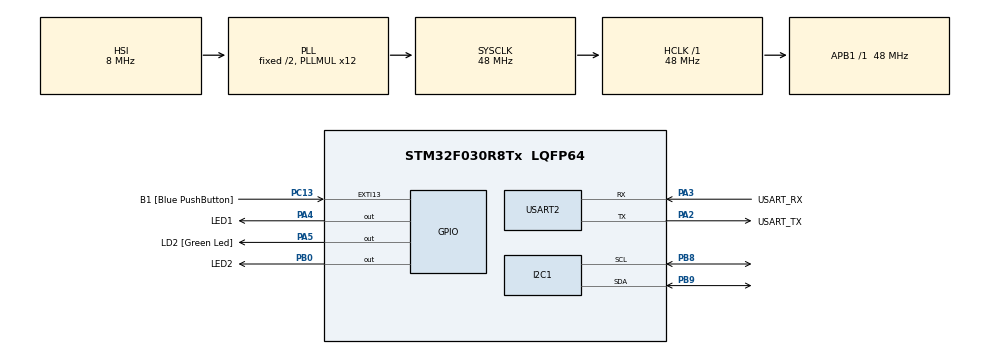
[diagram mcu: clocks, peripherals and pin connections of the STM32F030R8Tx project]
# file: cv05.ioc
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Dma.Request0=USART2_RX
Dma.USART2_RX.0.Direction=DMA_PERIPH_TO_MEMORY
Dma.USART2_RX.0.Instance=DMA1_Channel5
Dma.USART2_RX.0.MemDataAlignment=DMA_MDATAALIGN_BYTE
Dma.USART2_RX.0.MemInc=DMA_MINC_ENABLE
Dma.USART2_RX.0.Mode=DMA_CIRCULAR
Dma.USART2_RX.0.PeriphDataAlignment=DMA_PDATAALIGN_BYTE
Dma.USART2_RX.0.PeriphInc=DMA_PINC_DISABLE
Dma.USART2_RX.0.Priority=DMA_PRIORITY_LOW
Mcu.Family=STM32F0
Mcu.Name=STM32F030R8Tx
Mcu.Package=LQFP64
NVIC.DMA1_Channel4_5_IRQn=true\:0\:0\:false\:false\:true\:false\:true
PA13.GPIO_Label=TMS
PA13.Mode=Serial_Wire
PA13.Signal=SYS_SWDIO
PA14.GPIO_Label=TCK
PA14.Mode=Serial_Wire
PA14.Signal=SYS_SWCLK
PA2.GPIO_Label=USART_TX
PA2.GPIO_Mode=GPIO_MODE_AF_PP
PA2.GPIO_PuPd=GPIO_NOPULL
PA2.GPIO_Speed=GPIO_SPEED_FREQ_LOW
PA2.Mode=Asynchronous
PA2.Signal=USART2_TX
PA3.GPIO_Label=USART_RX
PA3.GPIO_Mode=GPIO_MODE_AF_PP
PA3.GPIO_PuPd=GPIO_NOPULL
PA3.GPIO_Speed=GPIO_SPEED_FREQ_LOW
PA3.Mode=Asynchronous
PA3.Signal=USART2_RX
PA4.GPIO_Label=LED1
PA4.Signal=GPIO_Output
PA5.GPIO_Label=LD2 [Green Led]
PA5.GPIO_Mode=GPIO_MODE_OUTPUT_PP
PA5.GPIO_PuPd=GPIO_NOPULL
PA5.GPIO_Speed=GPIO_SPEED_FREQ_LOW
PA5.Signal=GPIO_Output
PB0.GPIO_Label=LED2
PB0.Signal=GPIO_Output
PB8.Mode=I2C
PB8.Signal=I2C1_SCL
PB9.Mode=I2C
PB9.Signal=I2C1_SDA
PC13.GPIO_Label=B1 [Blue PushButton]
PC13.GPIO_ModeDefaultEXTI=GPIO_MODE_IT_FALLING
PC13.Signal=GPXTI13
PC14-OSC32_IN.Mode=LSE-External-Oscillator
PC14-OSC32_IN.Signal=RCC_OSC32_IN
PC15-OSC32_OUT.Mode=LSE-External-Oscillator
PC15-OSC32_OUT.Signal=RCC_OSC32_OUT
PF0-OSC_IN.Mode=HSE-External-Clock-Source
PF0-OSC_IN.Signal=RCC_OSC_IN
PF1-OSC_OUT.Signal=RCC_OSC_OUT
ProjectManager.HeapSize=0x200
ProjectManager.StackSize=0x400
ProjectManager.TargetToolchain=STM32CubeIDE
RCC.AHBFreq_Value=48000000
RCC.APB1Freq_Value=48000000
RCC.APB1TimFreq_Value=48000000
RCC.HCLKFreq_Value=48000000
RCC.PLLMUL=RCC_PLL_MUL12
RCC.SYSCLKFreq_VALUE=48000000
RCC.SYSCLKSource=RCC_SYSCLKSOURCE_PLLCLK
USART2.VirtualMode-Asynchronous=VM_ASYNC
board=NUCLEO-F030R8

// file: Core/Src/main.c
/* USER CODE BEGIN Header */
/**
 ******************************************************************************
 * @file           : main.c
 * @brief          : Main program body
 ******************************************************************************
 * @attention
 *
 * <h2><center>&copy; Copyright (c) 2020 STMicroelectronics.
 * All rights reserved.</center></h2>
 *
 * This software component is licensed by ST under BSD 3-Clause license,
 * the "License"; You may not use this file except in compliance with the
 * License. You may obtain a copy of the License at:
 *                        opensource.org/licenses/BSD-3-Clause
 *
 ******************************************************************************
 */
/* USER CODE END Header */

#include "main.h"

/* USER CODE BEGIN Includes */
#include  <stdio.h>
#include <string.h>
#include <stdlib.h>
/* USER CODE END Includes */

/* USER CODE BEGIN PD */
#define RX_BUFFER_LEN 64
#define EEPROM_ADDR 0xA0
#define CMD_BUFFER_LEN 256
static uint8_t uart_rx_buf[RX_BUFFER_LEN];
static volatile uint16_t uart_rx_read_ptr = 0;
#define uart_rx_write_ptr (RX_BUFFER_LEN - hdma_usart2_rx.Instance->CNDTR)
static uint16_t ls_char;
/* USER CODE END PD */

I2C_HandleTypeDef hi2c1;

UART_HandleTypeDef huart2;
DMA_HandleTypeDef hdma_usart2_rx;

void SystemClock_Config(void);
static void MX_GPIO_Init(void);
static void MX_DMA_Init(void);
static void MX_USART2_UART_Init(void);
static void MX_I2C1_Init(void);
/* USER CODE BEGIN PFP */
static void uart_byte_available(uint8_t c);
static void uart_process_command(char *data);
/* USER CODE END PFP */

/* USER CODE BEGIN 0 */
int _write(int file, char const *buf, int n)
{
	/* stdout redirection to UART2 */
	HAL_UART_Transmit(&huart2, (uint8_t*)(buf), n, HAL_MAX_DELAY);
	return n;
}

static void uart_byte_available(uint8_t c)
{
	static uint16_t cnt;
	static char data[CMD_BUFFER_LEN];
	if ((c>=32)&&(c<=126))
		if (cnt < CMD_BUFFER_LEN) data[cnt++] = c;
	if (c == '\n' || c == '\r') {

		data[cnt] = '\0';
		uart_process_command(data);
		cnt = 0;
		ls_char = HAL_GetTick();
	}

}

static void uart_process_command(char *data)
{
	char *token;
	token = strtok(data, " ");
	if (strcasecmp(token, "HELLO") == 0)
	{
		printf("Komunikace OK\n");
	}
	else if (strcasecmp(token, "LED1") == 0)
	{
		token = strtok(NULL, " ");
		if (strcasecmp(token, "ON") == 0)
		{
			HAL_GPIO_WritePin(LED1_GPIO_Port, LED1_Pin, 1);
			printf("LED1 je zapnuta\n");
		}
		else if (strcasecmp(token, "OFF") == 0)
		{
			HAL_GPIO_WritePin(LED1_GPIO_Port, LED1_Pin, 0);
			printf("LED1 je vypnuta\n");
		}
	}
	else if (strcasecmp(token, "LED2") == 0) {
		token = strtok(NULL, " ");
		if (strcasecmp(token, "ON") == 0)
		{
			HAL_GPIO_WritePin(LED2_GPIO_Port, LED2_Pin, 1);
			printf("LED2 je zapnuta\n");
		}
		else if (strcasecmp(token, "OFF") == 0)
		{
			HAL_GPIO_WritePin(LED2_GPIO_Port, LED2_Pin, 0);
			printf("LED2 je vypnuta\n");
		}
	}
	else if (strcasecmp(token, "STATUS") == 0)
	{
		if (HAL_GPIO_ReadPin(LED1_GPIO_Port, LED1_Pin) ==1 ) {printf("LED1 zapnuta\n");};
		if (HAL_GPIO_ReadPin(LED1_GPIO_Port, LED1_Pin) ==0 ) {printf("LED1 vypnuta\n");};
		if (HAL_GPIO_ReadPin(LED2_GPIO_Port, LED2_Pin) ==1 ) {printf("LED2 zapnuta\n");};
		if (HAL_GPIO_ReadPin(LED2_GPIO_Port, LED2_Pin) ==0 ) {printf("LED2 vypnuta\n");};

	}
	else if (strcasecmp(token, "READ") == 0)
	{
		uint8_t adresa;
		uint8_t res;
		token = strtok(NULL, " ");
		adresa = atol(token);
		HAL_I2C_Mem_Read(&hi2c1, EEPROM_ADDR, adresa, I2C_MEMADD_SIZE_8BIT, &res, 1, 1000);
		printf("Adresa '%d' = %d\n", adresa, res);
	}
	else if (strcasecmp(token, "WRITE") == 0)
	{
		token = strtok(NULL, " ");
		adr = atoi(token);
		token = strtok(NULL, " ");
		uint8_t data_w = atoi(token);

		HAL_I2C_Mem_Write(&hi2c1, EEPROM_ADDR, adr, I2C_MEMADD_SIZE_16BIT, &data_w, 1,1000);
		while (HAL_I2C_IsDeviceReady(&hi2c1, EEPROM_ADDR, 300, 1000) == HAL_TIMEOUT) {}
		printf("OK\n");
	}
	else if (strcasecmp(token, "DUMP") == 0)
	{
		uint16_t data = 0;

		for (adr = 0; adr < 0x10; adr++)
		{
			HAL_I2C_Mem_Read(&hi2c1, EEPROM_ADDR, adr, I2C_MEMADD_SIZE_16BIT, &data, 1,1000);
			printf("%02X ", data);
			if (adr == 0x07) printf("\n");
		}
		printf("\n");
	}
}
/* USER CODE END 0 */

int main(void)
{

  /* MCU Configuration--------------------------------------------------------*/

  /* Reset of all peripherals, Initializes the Flash interface and the Systick. */
  HAL_Init();

  /* Configure the system clock */
  SystemClock_Config();

  /* Initialize all configured peripherals */
  MX_GPIO_Init();
  MX_DMA_Init();
  MX_USART2_UART_Init();
  MX_I2C1_Init();
  /* USER CODE BEGIN 2 */
	HAL_UART_Receive_DMA(&huart2, uart_rx_buf, RX_BUFFER_LEN);
  /* USER CODE END 2 */

  /* Infinite loop */
	while (1)
	{

    /* USER CODE BEGIN 3 */
		//uint8_t c;
		//HAL_UART_Receive(&huart2, &c, 1, HAL_MAX_DELAY);
		//HAL_UART_Transmit(&huart2, &c, 1, HAL_MAX_DELAY);
		while (uart_rx_read_ptr != uart_rx_write_ptr)
		{
			uint8_t b = uart_rx_buf[uart_rx_read_ptr];
			if (++uart_rx_read_ptr >= RX_BUFFER_LEN) uart_rx_read_ptr = 0;    // increase read pointer
			uart_byte_available(b);                                           // process every received byte with the RX state machine
		}
	}
  /* USER CODE END 3 */
}

void SystemClock_Config(void)
{
  RCC_OscInitTypeDef RCC_OscInitStruct = {0};
  RCC_ClkInitTypeDef RCC_ClkInitStruct = {0};
  RCC_PeriphCLKInitTypeDef PeriphClkInit = {0};

  /** Initializes the CPU, AHB and APB busses clocks
  */
  RCC_OscInitStruct.OscillatorType = RCC_OSCILLATORTYPE_HSI;
  RCC_OscInitStruct.HSIState = RCC_HSI_ON;
  RCC_OscInitStruct.HSICalibrationValue = RCC_HSICALIBRATION_DEFAULT;
  RCC_OscInitStruct.PLL.PLLState = RCC_PLL_ON;
  RCC_OscInitStruct.PLL.PLLSource = RCC_PLLSOURCE_HSI;
  RCC_OscInitStruct.PLL.PLLMUL = RCC_PLL_MUL12;
  RCC_OscInitStruct.PLL.PREDIV = RCC_PREDIV_DIV1;
  if (HAL_RCC_OscConfig(&RCC_OscInitStruct) != HAL_OK)
  {
    Error_Handler();
  }
  /** Initializes the CPU, AHB and APB busses clocks
  */
  RCC_ClkInitStruct.ClockType = RCC_CLOCKTYPE_HCLK|RCC_CLOCKTYPE_SYSCLK
                              |RCC_CLOCKTYPE_PCLK1;
  RCC_ClkInitStruct.SYSCLKSource = RCC_SYSCLKSOURCE_PLLCLK;
  RCC_ClkInitStruct.AHBCLKDivider = RCC_SYSCLK_DIV1;
  RCC_ClkInitStruct.APB1CLKDivider = RCC_HCLK_DIV1;

  if (HAL_RCC_ClockConfig(&RCC_ClkInitStruct, FLASH_LATENCY_1) != HAL_OK)
  {
    Error_Handler();
  }
  PeriphClkInit.PeriphClockSelection = RCC_PERIPHCLK_I2C1;
  PeriphClkInit.I2c1ClockSelection = RCC_I2C1CLKSOURCE_HSI;
  if (HAL_RCCEx_PeriphCLKConfig(&PeriphClkInit) != HAL_OK)
  {
    Error_Handler();
  }
}

static void MX_I2C1_Init(void)
{

  hi2c1.Instance = I2C1;
  hi2c1.Init.Timing = 0x2000090E;
  hi2c1.Init.OwnAddress1 = 0;
  hi2c1.Init.AddressingMode = I2C_ADDRESSINGMODE_7BIT;
  hi2c1.Init.DualAddressMode = I2C_DUALADDRESS_DISABLE;
  hi2c1.Init.OwnAddress2 = 0;
  hi2c1.Init.OwnAddress2Masks = I2C_OA2_NOMASK;
  hi2c1.Init.GeneralCallMode = I2C_GENERALCALL_DISABLE;
  hi2c1.Init.NoStretchMode = I2C_NOSTRETCH_DISABLE;
  if (HAL_I2C_Init(&hi2c1) != HAL_OK)
  {
    Error_Handler();
  }
  /** Configure Analogue filter
  */
  if (HAL_I2CEx_ConfigAnalogFilter(&hi2c1, I2C_ANALOGFILTER_ENABLE) != HAL_OK)
  {
    Error_Handler();
  }
  /** Configure Digital filter
  */
  if (HAL_I2CEx_ConfigDigitalFilter(&hi2c1, 0) != HAL_OK)
  {
    Error_Handler();
  }

}

static void MX_USART2_UART_Init(void)
{

  huart2.Instance = USART2;
  huart2.Init.BaudRate = 38400;
  huart2.Init.WordLength = UART_WORDLENGTH_8B;
  huart2.Init.StopBits = UART_STOPBITS_1;
  huart2.Init.Parity = UART_PARITY_NONE;
  huart2.Init.Mode = UART_MODE_TX_RX;
  huart2.Init.HwFlowCtl = UART_HWCONTROL_NONE;
  huart2.Init.OverSampling = UART_OVERSAMPLING_16;
  huart2.Init.OneBitSampling = UART_ONE_BIT_SAMPLE_DISABLE;
  huart2.AdvancedInit.AdvFeatureInit = UART_ADVFEATURE_NO_INIT;
  if (HAL_UART_Init(&huart2) != HAL_OK)
  {
    Error_Handler();
  }

}

static void MX_DMA_Init(void)
{

  /* DMA controller clock enable */
  __HAL_RCC_DMA1_CLK_ENABLE();

  /* DMA interrupt init */
  /* DMA1_Channel4_5_IRQn interrupt configuration */
  HAL_NVIC_SetPriority(DMA1_Channel4_5_IRQn, 0, 0);
  HAL_NVIC_EnableIRQ(DMA1_Channel4_5_IRQn);

}

static void MX_GPIO_Init(void)
{
  GPIO_InitTypeDef GPIO_InitStruct = {0};

  /* GPIO Ports Clock Enable */
  __HAL_RCC_GPIOC_CLK_ENABLE();
  __HAL_RCC_GPIOF_CLK_ENABLE();
  __HAL_RCC_GPIOA_CLK_ENABLE();
  __HAL_RCC_GPIOB_CLK_ENABLE();

  /*Configure GPIO pin Output Level */
  HAL_GPIO_WritePin(GPIOA, LED1_Pin|LD2_Pin, GPIO_PIN_RESET);

  /*Configure GPIO pin Output Level */
  HAL_GPIO_WritePin(LED2_GPIO_Port, LED2_Pin, GPIO_PIN_RESET);

  /*Configure GPIO pin : B1_Pin */
  GPIO_InitStruct.Pin = B1_Pin;
  GPIO_InitStruct.Mode = GPIO_MODE_IT_FALLING;
  GPIO_InitStruct.Pull = GPIO_NOPULL;
  HAL_GPIO_Init(B1_GPIO_Port, &GPIO_InitStruct);

  /*Configure GPIO pins : LED1_Pin LD2_Pin */
  GPIO_InitStruct.Pin = LED1_Pin|LD2_Pin;
  GPIO_InitStruct.Mode = GPIO_MODE_OUTPUT_PP;
  GPIO_InitStruct.Pull = GPIO_NOPULL;
  GPIO_InitStruct.Speed = GPIO_SPEED_FREQ_LOW;
  HAL_GPIO_Init(GPIOA, &GPIO_InitStruct);

  /*Configure GPIO pin : LED2_Pin */
  GPIO_InitStruct.Pin = LED2_Pin;
  GPIO_InitStruct.Mode = GPIO_MODE_OUTPUT_PP;
  GPIO_InitStruct.Pull = GPIO_NOPULL;
  GPIO_InitStruct.Speed = GPIO_SPEED_FREQ_LOW;
  HAL_GPIO_Init(LED2_GPIO_Port, &GPIO_InitStruct);

}

void Error_Handler(void)
{
}

/************************ (C) COPYRIGHT STMicroelectronics *****END OF FILE****/
